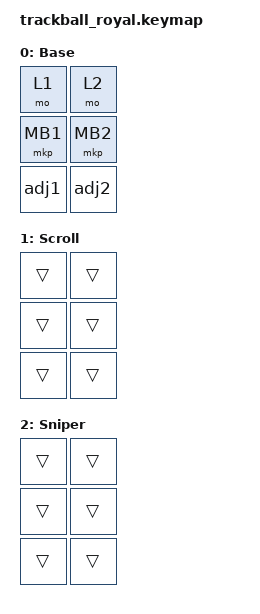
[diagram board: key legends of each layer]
#include "keys_ru.h"
#include <dt-bindings/zmk/input_transform.h>
#include <input/processors.dtsi>
#include <zephyr/dt-bindings/input/input-event-codes.h>
#include <dt-bindings/zmk/matrix_transform.h>
#include <scroll-snap.dtsi>
#include <behaviors.dtsi>
#include <dt-bindings/zmk/bt.h>
#include <dt-bindings/zmk/keys.h>
#include <dt-bindings/zmk/pointing.h>
#include "input/processors/sensor_rotation.dtsi"

/ {
    default_transform: keymap_transform_0 {
        compatible = "zmk,matrix-transform";
        columns = <2>;
        rows = <3>;
        map = <
        RC(0,3) RC(0,2)
        RC(0,0) RC(0,1)
        RC(0,5) RC(0,4)
        >;
    };

    combos {
        compatible = "zmk,combos";

        base_combo {
            bindings = <&mkp MB3>;
            key-positions = <2 3>;
        };

        allaps {
            bindings = <&kp LC(UP)>;
            key-positions = <0 1>;
        };
    };

    behaviors {
        adj1: adj1 {
            compatible = "zmk,behavior-tap-dance";
            label = "ADJ1";
            #binding-cells = <0>;
            bindings = <&bt BT_SEL 0>, <&bt BT_CLR>;
        };

        adj2: adj2 {
            compatible = "zmk,behavior-tap-dance";
            label = "ADJ2";
            #binding-cells = <0>;
            bindings = <&bt BT_NXT>, <&bt BT_CLR_ALL>;
        };
    };

    keymap {
        compatible = "zmk,keymap";

        base {
            bindings = <
&mo 1     &mo 2
&mkp MB1  &mkp MB2
&adj1     &adj2
            >;

            display-name = "Base";
        };

        scroll {
            bindings = <
&trans  &trans
&trans  &trans
&trans  &trans
            >;

            display-name = "Scroll";
        };

        sniper {
            bindings = <
&trans  &trans
&trans  &trans
&trans  &trans
            >;

            display-name = "Sniper";
        };
    };

    input_processors {
        sensor_rotation: sensor_rotation {
            compatible = "zmk,input-processor-sensor-rotation";
            status = "okay";
            #input-processor-cells = <0>;
            rotation-angle = <5>;
        };
    };
};

&trackball { cpi = <1000>; };

&trackball_listener {
    input-processors =
        <&zip_xy_scaler 9 20>,
        <&sensor_rotation>;

    scroller {
        layers = <1>;
        input-processors =
            <&zip_xy_scaler 1 64>,
            <&zip_xy_to_scroll_mapper &zip_scroll_snap>;
    };

    sniper {
        layers = <2>;
        input-processors = <&zip_xy_scaler 1 8>;
    };

    adjust {
        layers = <3>;
        input-processors = <&zip_xy_scaler 1 8>;
    };
};
